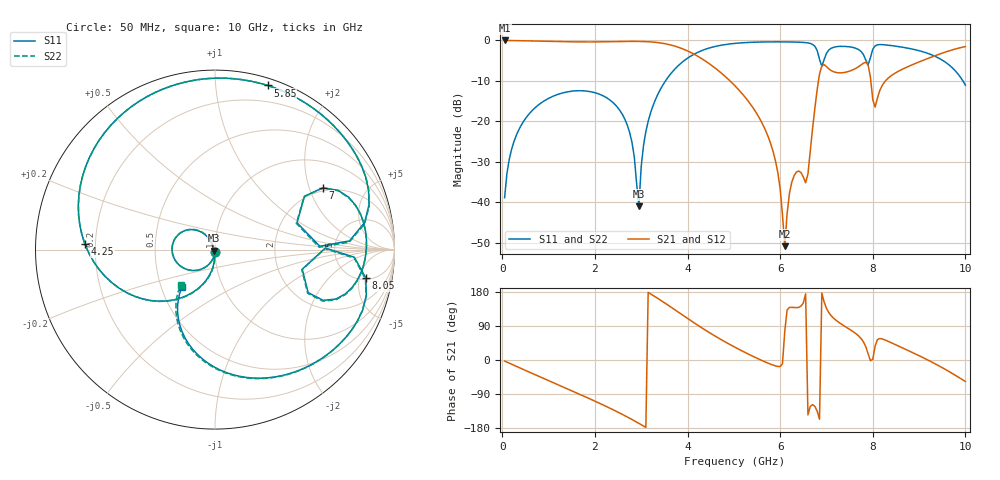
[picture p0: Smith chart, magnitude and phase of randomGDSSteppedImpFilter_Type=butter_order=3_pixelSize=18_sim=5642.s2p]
! freq	dB(S11)	phase(S11)	dB(S12)	phase(S12)
!  dB(S21)	phase(S21)	dB(S22)	phase(S22)
!S-par simulation data
#  GHz  S  DB  R 50
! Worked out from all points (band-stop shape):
!   200 points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, 50 MHz to 10 GHz, reference 50 ohm
!   highest |S21| = 0.00 dB at 50 MHz (marker M1); lowest = -50.8 dB at 6.1 GHz (marker M2)
!   |S21| within 3 dB of the highest: start of sweep to 4.075 GHz; 9.534 GHz to end of sweep
!   lowest |S11| = -40.9 dB at 2.95 GHz (marker M3), VSWR 1.02, Z = 49.3 - j0.572 ohm
!   |S11| at or under -10 dB: start of sweep to 3.525 GHz; 9.946 GHz to end of sweep
!   |S22| runs from -42.9 to -0.4 dB; largest |S21 - S12| = 0
!   S11 on the Smith chart (normalised r, x): 50 MHz: 1.00, -0.02; 4.25 GHz: 0.16, +0.02; 5.85 GHz: 0.06, +1.37; 7 GHz: 1.87, +2.48; 8.05 GHz: 5.28, -6.26; 10 GHz: 0.64, -0.29
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0.05  -38.87 -92.4  -0.00 -2.8  -0.00 -2.8  -38.88 -92.4
0.5  -19.32 -117.9  -0.09 -27.5  -0.09 -27.5  -19.32 -118.0
1.75  -12.45 174.8  -0.37 -94.8  -0.37 -94.8  -12.45 174.5
2.65  -19.56 124.6  -0.24 -147.2  -0.24 -147.2  -19.56 123.5
2.85  -28.74 118.2  -0.23 -160.3  -0.23 -160.3  -28.79 114.9
2.95  -40.95 -139.8  -0.24 -167.2  -0.24 -167.2  -42.86 -133.4
3.1  -22.52 -94.6  -0.29 -177.9  -0.29 -177.9  -22.55 -92.9
3.4  -12.39 -113.9  -0.59 159.2  -0.59 159.2  -12.39 -113.4
4.25  -2.79 177.6  -4.11 89.4  -4.11 89.4  -2.79 177.6
5.05  -0.70 120.3  -11.52 32.0  -11.52 32.0  -0.70 120.2
5.85  -0.35 72.2  -27.56 -13.6  -27.56 -13.6  -0.35 71.9
6.1  -0.36 57.9  -50.85 76.1  -50.85 76.1  -0.36 57.6
6.25  -0.38 49.1  -35.08 139.0  -35.08 139.0  -0.38 48.8
6.55  -0.54 29.7  -35.17 174.5  -35.17 174.5  -0.54 29.4
6.7  -0.97 16.3  -21.77 -117.7  -21.77 -117.7  -0.98 15.8
6.85  -4.67 1.8  -8.31 -156.3  -8.31 -156.3  -4.72 1.3
7  -3.19 29.8  -6.47 136.4  -6.47 136.4  -3.20 29.7
7.85  -4.86 -24.8  -5.39 34.8  -5.39 34.8  -4.87 -25.2
8.05  -1.36 -10.7  -16.48 36.4  -16.48 36.4  -1.36 -11.1
8.35  -1.20 -36.9  -9.15 48.4  -9.15 48.4  -1.20 -37.4
9.15  -3.04 -81.8  -4.63 2.3  -4.63 2.3  -3.05 -82.5
10  -11.06 -131.2  -1.52 -56.8  -1.52 -56.8  -11.16 -133.9
